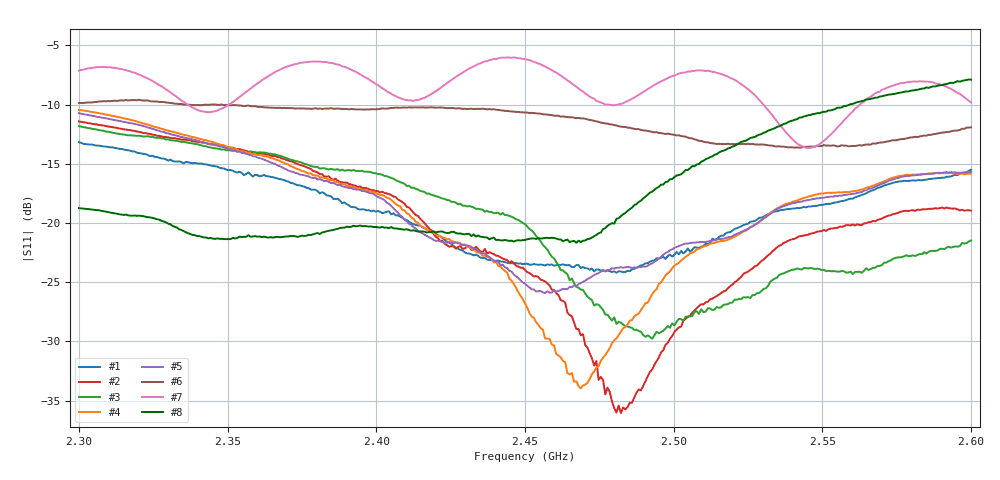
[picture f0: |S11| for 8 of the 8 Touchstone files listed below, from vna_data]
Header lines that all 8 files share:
! NanoVNA-App
! Start: 2.3GHz Stop: 2.6GHz Points: 401
! S-Parameter data: F S11
# Hz S RI R 50
!  Frequency  S11_Real  S11_Imag
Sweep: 2.3 GHz to 2.6 GHz
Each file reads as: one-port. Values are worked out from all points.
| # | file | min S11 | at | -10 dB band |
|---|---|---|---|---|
| 1 | TAO59-02-2.4ghz.s1p | -24.2 dB | 2.481 GHz | over 300 MHz wide |
| 2 | TAO71-01-2.4ghz.s1p | -36.0 dB | 2.482 GHz | over 300 MHz wide |
| 3 | TAO71-02-2.4ghz.s1p | -29.8 dB | 2.493 GHz | over 300 MHz wide |
| 4 | TAO71- 01- 2.4ghz.s1p | -34.0 dB | 2.469 GHz | over 300 MHz wide |
| 5 | TAO71- 02 -2.4ghz.s1p | -25.9 dB | 2.457 GHz | over 300 MHz wide |
| 6 | TS-01-2.4ghz.s1p | -13.6 dB | 2.542 GHz | over 251.9 MHz wide |
| 7 | yagi-01-2.4ghz.s1p | -13.7 dB | 2.545 GHz | 32.46 MHz wide |
| 8 | ZBM2-BLE-2.4ghz.s1p | -21.7 dB | 2.467 GHz | over 259.2 MHz wide |
